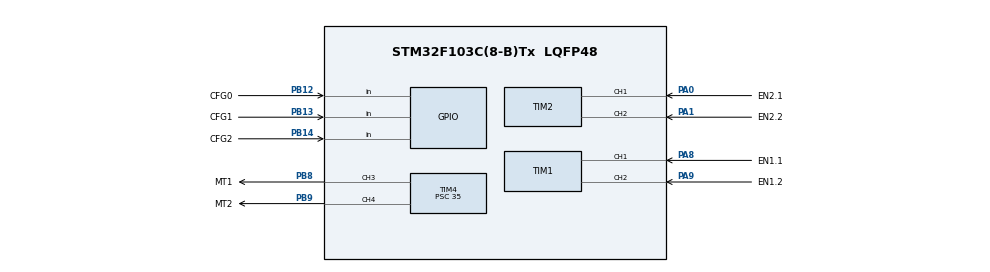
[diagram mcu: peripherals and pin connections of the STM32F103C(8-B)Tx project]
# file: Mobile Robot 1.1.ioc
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Mcu.Family=STM32F1
Mcu.Name=STM32F103C(8-B)Tx
Mcu.Package=LQFP48
NVIC.PriorityGroup=NVIC_PRIORITYGROUP_4
PA0-WKUP.GPIO_Label=EN2.1
PA0-WKUP.GPIO_PuPd=GPIO_PULLUP
PA0-WKUP.Signal=S_TIM2_CH1_ETR
PA1.GPIO_Label=EN2.2
PA1.GPIO_PuPd=GPIO_PULLUP
PA1.Signal=S_TIM2_CH2
PA13.Mode=Serial_Wire
PA13.Signal=SYS_JTMS-SWDIO
PA14.Mode=Serial_Wire
PA14.Signal=SYS_JTCK-SWCLK
PA8.GPIO_Label=EN1.1
PA8.GPIO_PuPd=GPIO_PULLUP
PA8.Signal=S_TIM1_CH1
PA9.GPIO_Label=EN1.2
PA9.GPIO_PuPd=GPIO_PULLUP
PA9.Signal=S_TIM1_CH2
PB12.GPIO_Label=CFG0
PB12.Signal=GPIO_Input
PB13.GPIO_Label=CFG1
PB13.Signal=GPIO_Input
PB14.GPIO_Label=CFG2
PB14.Signal=GPIO_Input
PB8.GPIO_Label=MT1
PB8.GPIO_ModeDefaultPP=GPIO_MODE_AF_PP
PB8.GPIO_Speed=GPIO_SPEED_FREQ_MEDIUM
PB8.Signal=S_TIM4_CH3
PB9.GPIO_Label=MT2
PB9.GPIO_Speed=GPIO_SPEED_FREQ_MEDIUM
PB9.Signal=S_TIM4_CH4
PD0-OSC_IN.Mode=HSE-External-Oscillator
PD0-OSC_IN.Signal=RCC_OSC_IN
PD1-OSC_OUT.Mode=HSE-External-Oscillator
PD1-OSC_OUT.Signal=RCC_OSC_OUT
ProjectManager.HeapSize=0x200
ProjectManager.StackSize=0x400
ProjectManager.TargetToolchain=STM32CubeIDE
RCC.APB1Freq_Value=8000000
RCC.APB2Freq_Value=8000000
SH.S_TIM1_CH1.0=TIM1_CH1,Encoder_Interface
SH.S_TIM1_CH2.0=TIM1_CH2,Encoder_Interface
SH.S_TIM2_CH1_ETR.0=TIM2_CH1,Encoder_Interface
SH.S_TIM2_CH2.0=TIM2_CH2,Encoder_Interface
SH.S_TIM4_CH3.0=TIM4_CH3,PWM Generation3 CH3
SH.S_TIM4_CH4.0=TIM4_CH4,PWM Generation4 CH4
TIM1.EncoderMode=TIM_ENCODERMODE_TI12
TIM2.EncoderMode=TIM_ENCODERMODE_TI12
TIM4.Channel-PWM\ Generation3\ CH3=TIM_CHANNEL_3
TIM4.Channel-PWM\ Generation4\ CH4=TIM_CHANNEL_4
TIM4.Period=999
TIM4.Prescaler=35
board=custom

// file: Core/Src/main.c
/* USER CODE BEGIN Header */
/**
  ******************************************************************************
  * @file           : main.c
  * @brief          : Main program body
  ******************************************************************************
  * @attention
  *
  * Copyright (c) 2023 STMicroelectronics.
  * All rights reserved.
  *
  * This software is licensed under terms that can be found in the LICENSE file
  * in the root directory of this software component.
  * If no LICENSE file comes with this software, it is provided AS-IS.
  *
  ******************************************************************************
  */
/* USER CODE END Header */
#include "main.h"

/* USER CODE BEGIN Includes */
#include "matrices_op2.h"
#include <main_operation2.h>
#include <stdio.h>
#include <stdlib.h>
#include <string.h>
/* USER CODE END Includes */

TIM_HandleTypeDef htim1;
TIM_HandleTypeDef htim2;
TIM_HandleTypeDef htim4;

void SystemClock_Config(void);
static void MX_GPIO_Init(void);
static void MX_TIM1_Init(void);
static void MX_TIM2_Init(void);
static void MX_TIM4_Init(void);

/* USER CODE BEGIN 0 */

	double x = 2;
	double y = 0;
	double theta = 0;
	double left_angular_velocity = 0;
	double right_angular_velocity = 0;

	double x_r = 2;
	double y_r = 0;
	double theta_r = 0;
//	double v_r = 0.5;
//	double w_r = 0.5;

	double e_x;
	double e_y;
	double e_theta;

	double voltage_left = 0;
	double voltage_right = 0;

	volatile double encoder_cnt1 = 0;
	volatile double encoder_cnt2 = 0;

	// test
	double t1 = 0;
	double t2 = 0;
	double encoder_test_1 = 0;
	double encoder_test_2 = 0;

	volatile double encoder1_previous = 0;
	volatile double encoder2_previous = 0;

	double present_time = 0;
	double sample_time = 1000;
	double rate = 1 * 6.28; // = 1000/sample_time
//	double rate = 100;

	uint16_t duty_cycle1 = 0; // for motor left
	uint16_t duty_cycle2 = 0; // for motor right duty + 140 = duty 1 (v1 = v2)

	double sampling_interval = 10e-5 ;

	// Desired trajectory
    	double a = 1, alpha = 1;
   	double eta = 2;
   	double R_tra = 1;

	//Vehicle parameters
    double I = 0.0315;
	double r = 0.0325;
	double R = 0.091;
	double d = 0.037;
	double m = 0.927;

	//Motor parameters
	double k_phi = 9.76e-3;
	double R_a = 4.35;

	double number = 0;

	void pulse_modulation(uint16_t *duty_cycle1, uint16_t *duty_cycle2) {
		__HAL_TIM_SET_COMPARE(&htim4, TIM_CHANNEL_3, *duty_cycle1); // left
		__HAL_TIM_SET_COMPARE(&htim4, TIM_CHANNEL_4, *duty_cycle2); // right
	}

	void convert_v_to_pwm(uint16_t *duty_cycle1, uint16_t *duty_cycle2, double voltage_left, double voltage_right) {
		*duty_cycle1 = (int)((voltage_left / 12) * 1000);
		*duty_cycle2 = (int)((voltage_right / 12) * 1000);
	}

/* USER CODE END 0 */

int main(void)
{

  /* MCU Configuration--------------------------------------------------------*/

  /* Reset of all peripherals, Initializes the Flash interface and the Systick. */
  HAL_Init();

  /* USER CODE BEGIN Init */

      //Controller parameters
      matrix K;
      allocate_matrix(&K, 3 ,1);
      K.index[0][0] = 1;
      K.index[1][0] = 1;
      K.index[2][0] = 1;

      matrix K_4;
      allocate_matrix(&K_4, 2, 2);
      K_4.index[0][0] = 1;
      K_4.index[1][1] = 1;
      //.

      matrix v_r;
      allocate_matrix(&v_r, 2, 1);
//      v_r.index[0][0] = 0.5;
//      v_r.index[1][0] = 0.5;

      matrix v;
      allocate_matrix(&v, 2, 1);

      matrix v_c;
      allocate_matrix(&v_c, 2, 1);

      matrix v_c_pre;
      allocate_matrix(&v_c_pre, 2, 1);

      matrix u;
      allocate_matrix(&u, 2, 1);

      matrix torque;
      allocate_matrix(&torque, 2, 1);

  	  velocity_control_input(&v_c, &v_c_pre, v_r, K, e_x, e_y, e_theta);
  /* USER CODE END Init */

  /* Configure the system clock */
  SystemClock_Config();

  /* Initialize all configured peripherals */
  MX_GPIO_Init();
  MX_TIM1_Init();
  MX_TIM2_Init();
  MX_TIM4_Init();
  /* USER CODE BEGIN 2 */

  // Motor left
  HAL_TIM_PWM_Start(&htim4, TIM_CHANNEL_3);
  HAL_TIM_Encoder_Start(&htim1, TIM_CHANNEL_2 | TIM_CHANNEL_1);
  // Motor right
  HAL_TIM_PWM_Start(&htim4, TIM_CHANNEL_4);
  HAL_TIM_Encoder_Start(&htim2, TIM_CHANNEL_1 | TIM_CHANNEL_2);

  /* USER CODE END 2 */

  /* Infinite loop */
  /* USER CODE BEGIN WHILE */
  	  present_time = HAL_GetTick();
  while (1)
  {
	  double t, h;
	  encoder_cnt1 = 0;//__HAL_TIM_GET_COUNTER(&htim1);
	  encoder_cnt2 = __HAL_TIM_GET_COUNTER(&htim2);

	  if(number == 0)
	  {
		  number += 1;
		  encoder2_previous = 0;
	  }
	  else if(number == 1)
			  	{
			  		encoder2_previous = 62000;
			  		number += 1;
			  		t = encoder_cnt2;
			  	}
	  else if(number == 2)
			  	{
		  		encoder1_previous = 0;//encoder_cnt1;
		  		encoder2_previous = t;
		  		h = encoder_cnt2;
		  		number += 1;
			  	}

	  else
	  	{
	  		encoder2_previous = h;
	  		h = encoder_cnt2;
	  	}

	  if(HAL_GetTick() - present_time > sample_time) {
		  	if(encoder_cnt1 - encoder1_previous < 0) {
		  		left_angular_velocity = ((encoder_cnt1 - encoder1_previous + 65535) / 1320) * rate;
		  	}
		  	else {
		  		left_angular_velocity = ((encoder_cnt1 - encoder1_previous) / 1320) * rate;
		  	}

		  	if(encoder_cnt2 - encoder2_previous < 0) {
		  		right_angular_velocity = ((encoder_cnt1 - encoder1_previous + 65535) / 1320) * rate;
		  	}
		  	else {
		  		right_angular_velocity = ((encoder_cnt2 - encoder2_previous) / 1320) * rate;
		  	}

		  	encoder_test_1 = encoder_cnt1 - encoder1_previous;
			encoder_test_2 = encoder_cnt2 - encoder2_previous;

			desired_trajectory(&v_r, x_r, y_r);
	  		velocity(&v, left_angular_velocity, right_angular_velocity);
	  		errors(&e_x, &e_y, &e_theta, x, y, theta, x_r, y_r, theta_r);
	  		velocity_control_input(&v_c, &v_c_pre, v_r, K, e_x, e_y, e_theta);
	  		control_input_signal(&u, v_c, v_c_pre, v, K_4);
	  		cal_torque(&torque, v, u);
	  		voltage(&voltage_left, &voltage_right, left_angular_velocity, right_angular_velocity, &torque);
	  		next_state(&x, &y, &theta, &x_r, &y_r, &theta_r, v, v_r);
	  		convert_v_to_pwm(&duty_cycle1, &duty_cycle2, voltage_left, voltage_right);
	  		pulse_modulation(&duty_cycle1, &duty_cycle2);
//
//	  		pulse_modulation_test();
	  		present_time = HAL_GetTick();
	  	}

    /* USER CODE END WHILE */

  }
}

void SystemClock_Config(void)
{
  RCC_OscInitTypeDef RCC_OscInitStruct = {0};
  RCC_ClkInitTypeDef RCC_ClkInitStruct = {0};

  /** Initializes the RCC Oscillators according to the specified parameters
  * in the RCC_OscInitTypeDef structure.
  */
  RCC_OscInitStruct.OscillatorType = RCC_OSCILLATORTYPE_HSI;
  RCC_OscInitStruct.HSIState = RCC_HSI_ON;
  RCC_OscInitStruct.HSICalibrationValue = RCC_HSICALIBRATION_DEFAULT;
  RCC_OscInitStruct.PLL.PLLState = RCC_PLL_NONE;
  if (HAL_RCC_OscConfig(&RCC_OscInitStruct) != HAL_OK)
  {
    Error_Handler();
  }

  /** Initializes the CPU, AHB and APB buses clocks
  */
  RCC_ClkInitStruct.ClockType = RCC_CLOCKTYPE_HCLK|RCC_CLOCKTYPE_SYSCLK
                              |RCC_CLOCKTYPE_PCLK1|RCC_CLOCKTYPE_PCLK2;
  RCC_ClkInitStruct.SYSCLKSource = RCC_SYSCLKSOURCE_HSI;
  RCC_ClkInitStruct.AHBCLKDivider = RCC_SYSCLK_DIV1;
  RCC_ClkInitStruct.APB1CLKDivider = RCC_HCLK_DIV1;
  RCC_ClkInitStruct.APB2CLKDivider = RCC_HCLK_DIV1;

  if (HAL_RCC_ClockConfig(&RCC_ClkInitStruct, FLASH_LATENCY_0) != HAL_OK)
  {
    Error_Handler();
  }
}

static void MX_TIM1_Init(void)
{

  TIM_Encoder_InitTypeDef sConfig = {0};
  TIM_MasterConfigTypeDef sMasterConfig = {0};

  htim1.Instance = TIM1;
  htim1.Init.Prescaler = 0;
  htim1.Init.CounterMode = TIM_COUNTERMODE_UP;
  htim1.Init.Period = 65535;
  htim1.Init.ClockDivision = TIM_CLOCKDIVISION_DIV1;
  htim1.Init.RepetitionCounter = 0;
  htim1.Init.AutoReloadPreload = TIM_AUTORELOAD_PRELOAD_DISABLE;
  sConfig.EncoderMode = TIM_ENCODERMODE_TI12;
  sConfig.IC1Polarity = TIM_ICPOLARITY_RISING;
  sConfig.IC1Selection = TIM_ICSELECTION_DIRECTTI;
  sConfig.IC1Prescaler = TIM_ICPSC_DIV1;
  sConfig.IC1Filter = 0;
  sConfig.IC2Polarity = TIM_ICPOLARITY_RISING;
  sConfig.IC2Selection = TIM_ICSELECTION_DIRECTTI;
  sConfig.IC2Prescaler = TIM_ICPSC_DIV1;
  sConfig.IC2Filter = 0;
  if (HAL_TIM_Encoder_Init(&htim1, &sConfig) != HAL_OK)
  {
    Error_Handler();
  }
  sMasterConfig.MasterOutputTrigger = TIM_TRGO_RESET;
  sMasterConfig.MasterSlaveMode = TIM_MASTERSLAVEMODE_DISABLE;
  if (HAL_TIMEx_MasterConfigSynchronization(&htim1, &sMasterConfig) != HAL_OK)
  {
    Error_Handler();
  }

}

static void MX_TIM2_Init(void)
{

  TIM_Encoder_InitTypeDef sConfig = {0};
  TIM_MasterConfigTypeDef sMasterConfig = {0};

  htim2.Instance = TIM2;
  htim2.Init.Prescaler = 0;
  htim2.Init.CounterMode = TIM_COUNTERMODE_UP;
  htim2.Init.Period = 65535;
  htim2.Init.ClockDivision = TIM_CLOCKDIVISION_DIV1;
  htim2.Init.AutoReloadPreload = TIM_AUTORELOAD_PRELOAD_DISABLE;
  sConfig.EncoderMode = TIM_ENCODERMODE_TI12;
  sConfig.IC1Polarity = TIM_ICPOLARITY_RISING;
  sConfig.IC1Selection = TIM_ICSELECTION_DIRECTTI;
  sConfig.IC1Prescaler = TIM_ICPSC_DIV1;
  sConfig.IC1Filter = 0;
  sConfig.IC2Polarity = TIM_ICPOLARITY_RISING;
  sConfig.IC2Selection = TIM_ICSELECTION_DIRECTTI;
  sConfig.IC2Prescaler = TIM_ICPSC_DIV1;
  sConfig.IC2Filter = 0;
  if (HAL_TIM_Encoder_Init(&htim2, &sConfig) != HAL_OK)
  {
    Error_Handler();
  }
  sMasterConfig.MasterOutputTrigger = TIM_TRGO_RESET;
  sMasterConfig.MasterSlaveMode = TIM_MASTERSLAVEMODE_DISABLE;
  if (HAL_TIMEx_MasterConfigSynchronization(&htim2, &sMasterConfig) != HAL_OK)
  {
    Error_Handler();
  }

}

static void MX_TIM4_Init(void)
{

  TIM_MasterConfigTypeDef sMasterConfig = {0};
  TIM_OC_InitTypeDef sConfigOC = {0};

  htim4.Instance = TIM4;
  htim4.Init.Prescaler = 35;
  htim4.Init.CounterMode = TIM_COUNTERMODE_UP;
  htim4.Init.Period = 999;
  htim4.Init.ClockDivision = TIM_CLOCKDIVISION_DIV1;
  htim4.Init.AutoReloadPreload = TIM_AUTORELOAD_PRELOAD_DISABLE;
  if (HAL_TIM_PWM_Init(&htim4) != HAL_OK)
  {
    Error_Handler();
  }
  sMasterConfig.MasterOutputTrigger = TIM_TRGO_RESET;
  sMasterConfig.MasterSlaveMode = TIM_MASTERSLAVEMODE_DISABLE;
  if (HAL_TIMEx_MasterConfigSynchronization(&htim4, &sMasterConfig) != HAL_OK)
  {
    Error_Handler();
  }
  sConfigOC.OCMode = TIM_OCMODE_PWM1;
  sConfigOC.Pulse = 0;
  sConfigOC.OCPolarity = TIM_OCPOLARITY_HIGH;
  sConfigOC.OCFastMode = TIM_OCFAST_DISABLE;
  if (HAL_TIM_PWM_ConfigChannel(&htim4, &sConfigOC, TIM_CHANNEL_3) != HAL_OK)
  {
    Error_Handler();
  }
  if (HAL_TIM_PWM_ConfigChannel(&htim4, &sConfigOC, TIM_CHANNEL_4) != HAL_OK)
  {
    Error_Handler();
  }
  HAL_TIM_MspPostInit(&htim4);

}

static void MX_GPIO_Init(void)
{
  GPIO_InitTypeDef GPIO_InitStruct = {0};

  /* GPIO Ports Clock Enable */
  __HAL_RCC_GPIOD_CLK_ENABLE();
  __HAL_RCC_GPIOA_CLK_ENABLE();
  __HAL_RCC_GPIOB_CLK_ENABLE();

  /*Configure GPIO pins : CFG0_Pin CFG1_Pin CFG2_Pin */
  GPIO_InitStruct.Pin = CFG0_Pin|CFG1_Pin|CFG2_Pin;
  GPIO_InitStruct.Mode = GPIO_MODE_INPUT;
  GPIO_InitStruct.Pull = GPIO_NOPULL;
  HAL_GPIO_Init(GPIOB, &GPIO_InitStruct);

}

void Error_Handler(void)
{
  __disable_irq();
  while (1)
  {
  }
}
